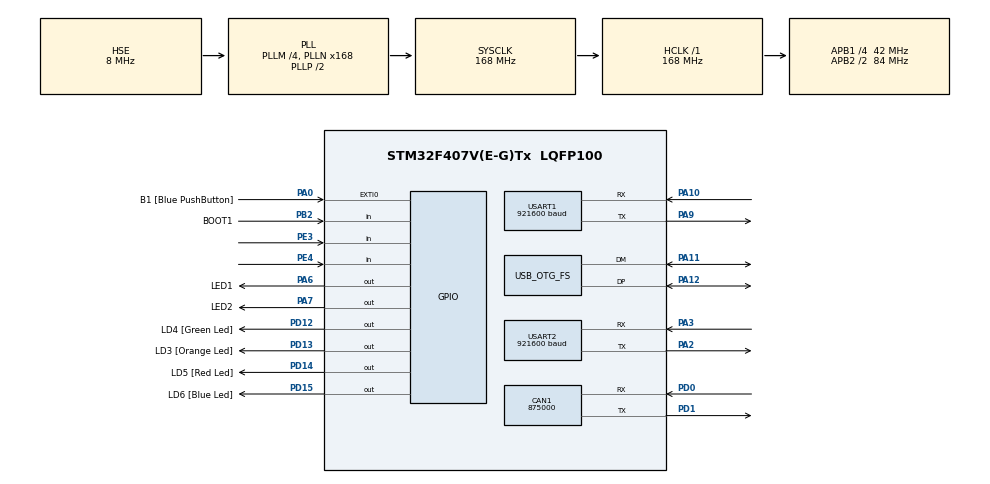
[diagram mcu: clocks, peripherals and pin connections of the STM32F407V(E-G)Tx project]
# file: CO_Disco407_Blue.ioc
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CAN1.CalculateBaudRate=875000
CAN1.CalculateTimeBit=1142
CAN1.CalculateTimeQuantum=380.95238095238096
Dma.MEMTOMEM.4.Direction=DMA_MEMORY_TO_MEMORY
Dma.MEMTOMEM.4.FIFOMode=DMA_FIFOMODE_ENABLE
Dma.MEMTOMEM.4.FIFOThreshold=DMA_FIFO_THRESHOLD_FULL
Dma.MEMTOMEM.4.Instance=DMA2_Stream0
Dma.MEMTOMEM.4.MemBurst=DMA_MBURST_SINGLE
Dma.MEMTOMEM.4.MemDataAlignment=DMA_MDATAALIGN_BYTE
Dma.MEMTOMEM.4.MemInc=DMA_MINC_ENABLE
Dma.MEMTOMEM.4.Mode=DMA_NORMAL
Dma.MEMTOMEM.4.PeriphBurst=DMA_PBURST_SINGLE
Dma.MEMTOMEM.4.PeriphDataAlignment=DMA_PDATAALIGN_BYTE
Dma.MEMTOMEM.4.PeriphInc=DMA_PINC_ENABLE
Dma.MEMTOMEM.4.Priority=DMA_PRIORITY_VERY_HIGH
Dma.MEMTOMEM.5.Direction=DMA_MEMORY_TO_MEMORY
Dma.MEMTOMEM.5.FIFOMode=DMA_FIFOMODE_ENABLE
Dma.MEMTOMEM.5.FIFOThreshold=DMA_FIFO_THRESHOLD_FULL
Dma.MEMTOMEM.5.Instance=DMA2_Stream1
Dma.MEMTOMEM.5.MemBurst=DMA_MBURST_SINGLE
Dma.MEMTOMEM.5.MemDataAlignment=DMA_MDATAALIGN_HALFWORD
Dma.MEMTOMEM.5.MemInc=DMA_MINC_ENABLE
Dma.MEMTOMEM.5.Mode=DMA_NORMAL
Dma.MEMTOMEM.5.PeriphBurst=DMA_PBURST_SINGLE
Dma.MEMTOMEM.5.PeriphDataAlignment=DMA_PDATAALIGN_HALFWORD
Dma.MEMTOMEM.5.PeriphInc=DMA_PINC_ENABLE
Dma.MEMTOMEM.5.Priority=DMA_PRIORITY_HIGH
Dma.MEMTOMEM.6.Direction=DMA_MEMORY_TO_MEMORY
Dma.MEMTOMEM.6.FIFOMode=DMA_FIFOMODE_ENABLE
Dma.MEMTOMEM.6.FIFOThreshold=DMA_FIFO_THRESHOLD_FULL
Dma.MEMTOMEM.6.Instance=DMA2_Stream3
Dma.MEMTOMEM.6.MemBurst=DMA_MBURST_SINGLE
Dma.MEMTOMEM.6.MemDataAlignment=DMA_MDATAALIGN_WORD
Dma.MEMTOMEM.6.MemInc=DMA_MINC_ENABLE
Dma.MEMTOMEM.6.Mode=DMA_NORMAL
Dma.MEMTOMEM.6.PeriphBurst=DMA_PBURST_SINGLE
Dma.MEMTOMEM.6.PeriphDataAlignment=DMA_PDATAALIGN_WORD
Dma.MEMTOMEM.6.PeriphInc=DMA_PINC_ENABLE
Dma.MEMTOMEM.6.Priority=DMA_PRIORITY_MEDIUM
Dma.Request0=USART1_RX
Dma.Request1=USART1_TX
Dma.Request2=USART2_TX
Dma.Request3=USART2_RX
Dma.Request4=MEMTOMEM
Dma.Request5=MEMTOMEM
Dma.Request6=MEMTOMEM
Dma.USART1_RX.0.Direction=DMA_PERIPH_TO_MEMORY
Dma.USART1_RX.0.FIFOMode=DMA_FIFOMODE_DISABLE
Dma.USART1_RX.0.Instance=DMA2_Stream2
Dma.USART1_RX.0.MemDataAlignment=DMA_MDATAALIGN_BYTE
Dma.USART1_RX.0.MemInc=DMA_MINC_ENABLE
Dma.USART1_RX.0.Mode=DMA_NORMAL
Dma.USART1_RX.0.PeriphDataAlignment=DMA_PDATAALIGN_BYTE
Dma.USART1_RX.0.PeriphInc=DMA_PINC_DISABLE
Dma.USART1_RX.0.Priority=DMA_PRIORITY_LOW
Dma.USART1_TX.1.Direction=DMA_MEMORY_TO_PERIPH
Dma.USART1_TX.1.FIFOMode=DMA_FIFOMODE_DISABLE
Dma.USART1_TX.1.Instance=DMA2_Stream7
Dma.USART1_TX.1.MemDataAlignment=DMA_MDATAALIGN_BYTE
Dma.USART1_TX.1.MemInc=DMA_MINC_ENABLE
Dma.USART1_TX.1.Mode=DMA_NORMAL
Dma.USART1_TX.1.PeriphDataAlignment=DMA_PDATAALIGN_BYTE
Dma.USART1_TX.1.PeriphInc=DMA_PINC_DISABLE
Dma.USART1_TX.1.Priority=DMA_PRIORITY_LOW
Dma.USART2_RX.3.Direction=DMA_PERIPH_TO_MEMORY
Dma.USART2_RX.3.FIFOMode=DMA_FIFOMODE_DISABLE
Dma.USART2_RX.3.Instance=DMA1_Stream5
Dma.USART2_RX.3.MemDataAlignment=DMA_MDATAALIGN_BYTE
Dma.USART2_RX.3.MemInc=DMA_MINC_ENABLE
Dma.USART2_RX.3.Mode=DMA_NORMAL
Dma.USART2_RX.3.PeriphDataAlignment=DMA_PDATAALIGN_BYTE
Dma.USART2_RX.3.PeriphInc=DMA_PINC_DISABLE
Dma.USART2_RX.3.Priority=DMA_PRIORITY_LOW
Dma.USART2_TX.2.Direction=DMA_MEMORY_TO_PERIPH
Dma.USART2_TX.2.FIFOMode=DMA_FIFOMODE_DISABLE
Dma.USART2_TX.2.Instance=DMA1_Stream6
Dma.USART2_TX.2.MemDataAlignment=DMA_MDATAALIGN_BYTE
Dma.USART2_TX.2.MemInc=DMA_MINC_ENABLE
Dma.USART2_TX.2.Mode=DMA_NORMAL
Dma.USART2_TX.2.PeriphDataAlignment=DMA_PDATAALIGN_BYTE
Dma.USART2_TX.2.PeriphInc=DMA_PINC_DISABLE
Dma.USART2_TX.2.Priority=DMA_PRIORITY_LOW
Mcu.Family=STM32F4
Mcu.Name=STM32F407V(E-G)Tx
Mcu.Package=LQFP100
NVIC.DMA1_Stream5_IRQn=true\:0\:0\:false\:false\:true\:false\:true\:true
NVIC.DMA1_Stream6_IRQn=true\:0\:0\:false\:false\:true\:false\:true\:true
NVIC.DMA2_Stream2_IRQn=true\:0\:0\:false\:false\:true\:false\:true\:true
NVIC.DMA2_Stream7_IRQn=true\:0\:0\:false\:false\:true\:false\:true\:true
NVIC.OTG_FS_IRQn=true\:0\:0\:false\:false\:true\:false\:true\:true
NVIC.PriorityGroup=NVIC_PRIORITYGROUP_0
NVIC.TIM4_IRQn=true\:0\:0\:false\:false\:true\:true\:true\:true
NVIC.TIM8_TRG_COM_TIM14_IRQn=true\:0\:0\:false\:false\:true\:true\:true\:true
NVIC.USART1_IRQn=true\:0\:0\:false\:false\:true\:true\:true\:true
NVIC.USART2_IRQn=true\:0\:0\:false\:false\:true\:true\:true\:true
PA0-WKUP.GPIO_Label=B1 [Blue PushButton]
PA0-WKUP.GPIO_ModeDefaultEXTI=GPIO_MODE_EVT_RISING
PA0-WKUP.GPIO_PuPd=GPIO_NOPULL
PA0-WKUP.Signal=GPXTI0
PA10.Mode=Asynchronous
PA10.Signal=USART1_RX
PA11.Mode=Device_Only
PA11.Signal=USB_OTG_FS_DM
PA12.Mode=Device_Only
PA12.Signal=USB_OTG_FS_DP
PA13.GPIO_Label=SWDIO
PA13.Mode=Serial_Wire
PA13.Signal=SYS_JTMS-SWDIO
PA14.GPIO_Label=SWCLK
PA14.Mode=Serial_Wire
PA14.Signal=SYS_JTCK-SWCLK
PA2.Mode=Asynchronous
PA2.Signal=USART2_TX
PA3.Mode=Asynchronous
PA3.Signal=USART2_RX
PA6.GPIO_Label=LED1
PA6.PinState=GPIO_PIN_SET
PA6.Signal=GPIO_Output
PA7.GPIO_Label=LED2
PA7.PinState=GPIO_PIN_SET
PA7.Signal=GPIO_Output
PA9.Mode=Asynchronous
PA9.Signal=USART1_TX
PB2.GPIO_Label=BOOT1
PB2.GPIO_Mode=GPIO_MODE_INPUT
PB2.GPIO_PuPd=GPIO_NOPULL
PB2.Signal=GPIO_Input
PB3.GPIO_Label=SWO
PB3.Signal=SYS_JTDO-SWO
PB5.Signal=CAN2_RX
PC14-OSC32_IN.GPIO_Label=PC14-OSC32_IN
PC14-OSC32_IN.Mode=LSE-External-Oscillator
PC14-OSC32_IN.Signal=RCC_OSC32_IN
PC15-OSC32_OUT.GPIO_Label=PC15-OSC32_OUT
PC15-OSC32_OUT.Mode=LSE-External-Oscillator
PC15-OSC32_OUT.Signal=RCC_OSC32_OUT
PD0.Mode=CAN_Activate
PD0.Signal=CAN1_RX
PD1.Mode=CAN_Activate
PD1.Signal=CAN1_TX
PD12.GPIO_Label=LD4 [Green Led]
PD12.GPIO_PuPd=GPIO_NOPULL
PD12.GPIO_Speed=GPIO_SPEED_FREQ_LOW
PD12.Signal=GPIO_Output
PD13.GPIO_Label=LD3 [Orange Led]
PD13.GPIO_PuPd=GPIO_NOPULL
PD13.GPIO_Speed=GPIO_SPEED_FREQ_LOW
PD13.Signal=GPIO_Output
PD14.GPIO_Label=LD5 [Red Led]
PD14.GPIO_PuPd=GPIO_NOPULL
PD14.GPIO_Speed=GPIO_SPEED_FREQ_LOW
PD14.Signal=GPIO_Output
PD15.GPIO_Label=LD6 [Blue Led]
PD15.GPIO_PuPd=GPIO_NOPULL
PD15.GPIO_Speed=GPIO_SPEED_FREQ_LOW
PD15.Signal=GPIO_Output
PE3.GPIO_PuPd=GPIO_PULLUP
PE3.Signal=GPIO_Input
PE4.GPIO_PuPd=GPIO_PULLUP
PE4.Signal=GPIO_Input
PH0-OSC_IN.GPIO_Label=PH0-OSC_IN
PH0-OSC_IN.Mode=HSE-External-Oscillator
PH0-OSC_IN.Signal=RCC_OSC_IN
PH1-OSC_OUT.GPIO_Label=PH1-OSC_OUT
PH1-OSC_OUT.Mode=HSE-External-Oscillator
PH1-OSC_OUT.Signal=RCC_OSC_OUT
ProjectManager.HeapSize=0x800
ProjectManager.StackSize=0x800
ProjectManager.TargetToolchain=STM32CubeIDE
RCC.48MHZClocksFreq_Value=48000000
RCC.AHBFreq_Value=168000000
RCC.APB1CLKDivider=RCC_HCLK_DIV4
RCC.APB1Freq_Value=42000000
RCC.APB1TimFreq_Value=84000000
RCC.APB2CLKDivider=RCC_HCLK_DIV2
RCC.APB2Freq_Value=84000000
RCC.APB2TimFreq_Value=168000000
RCC.CortexFreq_Value=168000000
RCC.HCLKFreq_Value=168000000
RCC.HSE_VALUE=8000000
RCC.HSI_VALUE=16000000
RCC.PLLI2SN=50
RCC.PLLM=4
RCC.PLLN=168
RCC.PLLQ=7
RCC.SYSCLKFreq_VALUE=168000000
RCC.SYSCLKSource=RCC_SYSCLKSOURCE_PLLCLK
RCC.VCOOutputFreq_Value=336000000
TIM14.Period=999
TIM14.Prescaler=167
TIM4.Period=999
TIM4.Prescaler=167
TIM4.TIM_MasterOutputTrigger=TIM_TRGO_UPDATE
USART1.BaudRate=921600
USART1.StopBits=STOPBITS_2
USART1.VirtualMode=VM_ASYNC
USART2.BaudRate=921600
USART2.StopBits=STOPBITS_2
USART2.VirtualMode=VM_ASYNC
USB_DEVICE.APP_RX_DATA_SIZE-CDC_FS=2048
USB_DEVICE.CLASS_NAME_FS=CDC
USB_DEVICE.VirtualMode-CDC_FS=Cdc
USB_DEVICE.VirtualModeFS=Cdc_FS
USB_OTG_FS.VirtualMode=Device_Only
VP_TIM14_VS_ClockSourceINT.Mode=Enable_Timer
VP_TIM4_VS_ClockSourceINT.Mode=Internal
VP_USB_DEVICE_VS_USB_DEVICE_CDC_FS.Mode=CDC_FS
board=STM32F407G-DISC1

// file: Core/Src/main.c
/* USER CODE BEGIN Header */
/**
  ******************************************************************************
  * @file           : main.c
  * @brief          : Main program body
  ******************************************************************************
  * @attention
  *
  * Copyright (c) 2024 STMicroelectronics.
  * All rights reserved.
  *
  * This software is licensed under terms that can be found in the LICENSE file
  * in the root directory of this software component.
  * If no LICENSE file comes with this software, it is provided AS-IS.
  *
  *
  *
  *			Blue_color_Discovery__STM32F407
  *
  *				NodeID = 0x3b
  *
  ******************************************************************************
  */
/* USER CODE END Header */
#include "main.h"
#include "usb_device.h"

/* USER CODE BEGIN Includes */
#include "CO_app_STM32.h"
#include "301/CO_SDOclient.h"
#include "CANopen.h"
#include "OD.h"

#include "format_out.h"
#include <malloc.h>
/* USER CODE END Includes */

/* USER CODE BEGIN PD */
#define CO_Aliex_Disco407green	0x3A
#define CO_Disco407_Blue		0x3b
#define CO_Lower__f407xx		0x3c
#define CO_Upper_F407XX			0x3d
#define CO_Disco407_Green_1		0x3e

#define Make_Read_SDO			1
#define TerminalInterface		huart2
/* USER CODE END PD */

CAN_HandleTypeDef hcan1;

TIM_HandleTypeDef htim4;
TIM_HandleTypeDef htim14;

UART_HandleTypeDef huart1;
UART_HandleTypeDef huart2;
DMA_HandleTypeDef hdma_usart1_rx;
DMA_HandleTypeDef hdma_usart1_tx;
DMA_HandleTypeDef hdma_usart2_tx;
DMA_HandleTypeDef hdma_usart2_rx;

DMA_HandleTypeDef hdma_memtomem_dma2_stream0;
DMA_HandleTypeDef hdma_memtomem_dma2_stream1;
DMA_HandleTypeDef hdma_memtomem_dma2_stream3;
/* USER CODE BEGIN PV */
uint8_t Tx_Array[16]={0x51,0x62,0x73,0x84,0x55,0x46,0x87,0x18,0x29,0x10,0x11,0x12,0x13,0x14,0x15,0x33};
uint8_t Rx_Array[16]={0};
uint32_t Array_32u[16]={0};
uint8_t Array_8u[16]={0x54,0x34,0x21,0xea,0xf3,0x7a,0xd4,0x46};
char Message_to_Terminal[128]={};
char Message_to_Terminal_1[128]={};
char Message_to_Terminal_2[128]={};
char Message_to_Terminal_3[128]={};
uint8_t Length_of_Message;
uint8_t Length_of_Ext_Var=0;
uint8_t Local_Count=0;

CO_SDO_abortCode_t  Code_return_SDO;
CAN_TxHeaderTypeDef Tx_Header;
uint32_t            TxMailbox;
uint32_t            tmp32u_1   = 0x1e1f1a1b;
uint32_t            tmp32u_0   = 0x0e0f0a0b;
uint64_t            tmp64u_0   = 0x0e1f1a1b56789a;
uint64_t            tmp64u_1   = 0x0e1f1a1b56789a;
uint32_t            Ticks;
char String_H[]={"String_for_Test_UART_"};
char String_L[]={"String_for_Test_UART_"};
/* USER CODE END PV */

void SystemClock_Config(void);
static void MX_GPIO_Init(void);
static void MX_DMA_Init(void);
static void MX_TIM14_Init(void);
static void MX_USART1_UART_Init(void);
static void MX_USART2_UART_Init(void);
static void MX_TIM4_Init(void);
static void MX_CAN1_Init(void);
/* USER CODE BEGIN PFP */

void CAN_interface_Test(void);
void UART_interface_Test(void);
void GPIO_Blink_Test(GPIO_TypeDef* GPIOx, uint16_t GPIO_Pin, uint8_t Count_of_Blink, uint16_t Period_of_blink_ms);
void Board_Name_to_Terminal(void);
void CO_Init_Return_State(uint16_t Returned_Code);
void SDO_abortCode_ASCII_to_Terminal(void);

CO_SDO_abortCode_t	read_SDO	(
								  CO_SDOclient_t* SDO_C,
								  uint8_t nodeId, 	//Remote_NodeID
								  uint16_t index,	//OD_Index_of_entire_at_Remote_NodeID
								  uint8_t subIndex, // OD_SubIndex_of_entire_at_Remote_NodeID
								  uint8_t* buf, 	//Saved_Data_Array
								  size_t bufSize, 	//Number_of_Bytes_Read_from_Remote_NodeID
								  size_t* readSize 	//pointer_at_Number_of_Bytes_to_save
								  );

CO_SDO_abortCode_t	write_SDO 	(
								CO_SDOclient_t* SDO_C,
								uint8_t nodeId, 	//Remote_NodeID
								uint16_t index,	//OD_Index_of_entire_at_Remote_NodeID
								uint8_t subIndex, // OD_SubIndex_of_entire_at_Remote_NodeID
								uint8_t* data,	//Data_Array_to_write_into_entire_at_Remote_NodeID
								size_t dataSize	//Number_of_Bytes_write_into_entire_at_Remote_NodeID
								);
/* USER CODE END PFP */

/* USER CODE BEGIN 0 */

/* Timer interrupt function executes every 1 ms */
void
HAL_TIM_PeriodElapsedCallback(TIM_HandleTypeDef* htim) {
    if (htim == canopenNodeSTM32->timerHandle) {
        canopen_app_interrupt();
    }
}

/* USER CODE END 0 */

int main(void)
{

  /* MCU Configuration--------------------------------------------------------*/

  /* Reset of all peripherals, Initializes the Flash interface and the Systick. */
  HAL_Init();

  /* Configure the system clock */
  SystemClock_Config();

  /* Initialize all configured peripherals */
  MX_GPIO_Init();
  MX_DMA_Init();
  MX_TIM14_Init();
  MX_USART1_UART_Init();
  MX_USB_DEVICE_Init();
  MX_USART2_UART_Init();
  MX_TIM4_Init();
  MX_CAN1_Init();
  /* USER CODE BEGIN 2 */
  /* CANHandle : Pass in the CAN Handle to this function and it wil be used for all CAN Communications. It can be FDCan or CAN
   * and CANOpenSTM32 Driver will take of care of handling that
   * HWInitFunction : Pass in the function that initialize the CAN peripheral, usually MX_CAN_Init
   * timerHandle : Pass in the timer that is going to be used for generating 1ms interrupt for tmrThread function,
   * please note that CANOpenSTM32 Library will override HAL_TIM_PeriodElapsedCallback function, if you also need this function
   * in your codes, please take required steps
   * desiredNodeID : This is the Node ID that you ask the CANOpen stack to assign to your device, although it might not always
   * be the final NodeID, after calling canopen_app_init() you should check ActiveNodeID of CANopenNodeSTM32 structure for assigned Node ID.
   * baudrate: This is the baudrate you've set in your CubeMX Configuration
   *
   */

  //   GPIO_Blink_Test(GPIOA, GPIO_PIN_7|GPIO_PIN_6, 25, 33); //for_STM32F4XX_Ali_pcb
    GPIO_Blink_Test(GPIOD, GPIO_PIN_12|GPIO_PIN_13|GPIO_PIN_14|GPIO_PIN_15, 25, 33);// blink_at_Discovery_EVB
//    UART_interface_Test(); //while(1){;}
//  //  CAN_interface_Test();
    Board_Name_to_Terminal();

	HAL_TIM_Base_Start_IT(&htim4);

	CANopenNodeSTM32 canOpenNodeSTM32;
	canOpenNodeSTM32.CANHandle = &hcan1;
	canOpenNodeSTM32.HWInitFunction = MX_CAN1_Init;
	canOpenNodeSTM32.timerHandle = &htim4;
	canOpenNodeSTM32.desiredNodeID = CO_Disco407_Blue;//0x3b;
	canOpenNodeSTM32.baudrate = 125*4;
uint16_t Ret_value = canopen_app_init(&canOpenNodeSTM32);
	CO_Init_Return_State(Ret_value );

  /* USER CODE END 2 */

  /* Infinite loop */
  /* USER CODE BEGIN WHILE */

	Code_return_SDO = read_SDO (
			    canOpenNodeSTM32.canOpenStack->SDOclient,
			  	0x3d,										//remote desiredNodeID Upper_F407XX
				0x6004,										//Index_of_OD_variable_at_remote_NodeID_6004_u64
				0x00,										//Sub_Index_of_OD_variable
				Rx_Array,									//Save_Received_Data_to Local_Array
				8,											//Number_of_Bytes_to_read
				(size_t*)&Length_of_Ext_Var ); HAL_Delay(100);

#if 1

		while(TerminalInterface.gState != HAL_UART_STATE_READY){;}
		Length_of_Message = sprintf( Message_to_Terminal,
		  	  	                     "\r EXECUTED read_SDO(...); for the first time\n\r "
                  "by canOpenNodeSTM32.canOpenStack->SDOclient\n\r");

		HAL_UART_Transmit_DMA( &TerminalInterface, (uint8_t*)Message_to_Terminal, Length_of_Message);HAL_Delay(10);

		while(TerminalInterface.gState != HAL_UART_STATE_READY){;}
		Length_of_Message = sprintf( Message_to_Terminal_3,
                "from RemoteNode=0x3d OD_Index=0x6004_u64 SubIndex=0x0\n\r and Save to \n\r"
				"Rx_Array={0x%X,0x%X,0x%X,0x%X,0x%X,0x%X,0x%X,0x%X} \n\r",
				Rx_Array[0],Rx_Array[1],Rx_Array[2],Rx_Array[3],
				Rx_Array[4],Rx_Array[5],Rx_Array[6],Rx_Array[7]);
		HAL_UART_Transmit_DMA( &TerminalInterface, (uint8_t*)Message_to_Terminal_3, Length_of_Message);
		while(TerminalInterface.gState != HAL_UART_STATE_READY){;}
		SDO_abortCode_ASCII_to_Terminal();		HAL_Delay(10);
#endif

#if 2
		while(TerminalInterface.gState != HAL_UART_STATE_READY){;}
		Length_of_Message = sprintf( Message_to_Terminal_2, "   \n\r Run write_SDO(.....);\n\r"
														  " write_SDO  by "
                  	  	  	  	  	  	  	  	  	  	  "canOpenNodeSTM32.canOpenStack->SDOclient\n\r");
		Message_to_Terminal_2[0]=0x08;
		Message_to_Terminal_2[1]=0x08;
		Message_to_Terminal_2[2]=0x08;
		HAL_UART_Transmit_DMA( &TerminalInterface, (uint8_t*)Message_to_Terminal_2, Length_of_Message);HAL_Delay(10);

		while(TerminalInterface.gState != HAL_UART_STATE_READY){;}
		Length_of_Message = sprintf( Message_to_Terminal_1,
                "Get Data \n\r from Local\n\r Array_8u={0x%X,0x%X,0x%X,0x%X,0x%X,0x%X,0x%X,0x%X} \n\r",
				Array_8u[0],Array_8u[1],Array_8u[2],Array_8u[3],
				Array_8u[4],Array_8u[5],Array_8u[6],Array_8u[7]);
		HAL_UART_Transmit_DMA( &TerminalInterface, (uint8_t*)Message_to_Terminal_1, Length_of_Message);
		while(TerminalInterface.gState != HAL_UART_STATE_READY){;}
		HAL_Delay(10);

		while(TerminalInterface.gState != HAL_UART_STATE_READY){;}
		Length_of_Message = sprintf( Message_to_Terminal_2,
                "and \n\r write to\n\r"
                "OD_Index=0x6004 SubIndex=0x0E  @ Remote Node_0x3d\n\r");
		HAL_UART_Transmit_DMA( &TerminalInterface, (uint8_t*)Message_to_Terminal_2, Length_of_Message);
		while(TerminalInterface.gState != HAL_UART_STATE_READY){;}
		HAL_Delay(10);

#endif//2

Code_return_SDO = write_SDO(
				canOpenNodeSTM32.canOpenStack->SDOclient,
				0x3d,										//remote desiredNodeID Upper_F407XX
				0x6004,										//Index_of_OD_variable_at_remote_NodeID_6004_u64
				0x00,										//Sub_Index_of_OD_variable
				Array_8u,									//Source_of_data
				4);
HAL_Delay(50);

while(TerminalInterface.gState != HAL_UART_STATE_READY){;}
SDO_abortCode_ASCII_to_Terminal();

Code_return_SDO = read_SDO (
  			    canOpenNodeSTM32.canOpenStack->SDOclient,
				0x3d,										//remote desiredNodeID Upper_F407XX
				0x6004,										//Index_of_OD_variable_at_remote_NodeID_6004_u64
  				0x00,										//Sub_Index_of_OD_variable
  				Rx_Array,									//Saved_Received_Data
  				4,											//Number_of_Byte_to_read
  				(size_t*)&Length_of_Ext_Var );HAL_Delay(50);

#if 3

		while(TerminalInterface.gState != HAL_UART_STATE_READY){;}
		Length_of_Message = sprintf( Message_to_Terminal_2,
		  	  	                     "   \n\r EXECUTED read_SDO(...); for the SECOND time\n\r");
		Message_to_Terminal_2[0]=0x08;
		Message_to_Terminal_2[1]=0x08;
		Message_to_Terminal_2[2]=0x08;
		HAL_UART_Transmit_DMA( &TerminalInterface, (uint8_t*)Message_to_Terminal_2, Length_of_Message);

		while(TerminalInterface.gState != HAL_UART_STATE_READY){;}
		Length_of_Message = sprintf( Message_to_Terminal_1,
                " Read NEW DATA from Node_0x3d OD_Index=0x6004 SubIndex=0x0E\n\r"
                "and\n\r Save to\n\r");
		HAL_UART_Transmit_DMA( &TerminalInterface, (uint8_t*)Message_to_Terminal_1, Length_of_Message);

		while(TerminalInterface.gState != HAL_UART_STATE_READY){;}
		Length_of_Message = sprintf( Message_to_Terminal,
                "Rx_Array={0x%X,0x%X,0x%X,0x%X,0x%X,0x%X,0x%X,0x%X} \n\r",
				Array_8u[0],Array_8u[1],Array_8u[2],Array_8u[3],
				Array_8u[4],Array_8u[5],Array_8u[6],Array_8u[7]);
		HAL_UART_Transmit_DMA( &TerminalInterface, (uint8_t*)Message_to_Terminal, Length_of_Message); HAL_Delay(10);

SDO_abortCode_ASCII_to_Terminal();
#endif//3
	  HAL_Delay(50);

		  OD_PERSIST_COMM.x6000_disco_Blue_VAR32_6000_TX=0;
		  Local_Count=0;

		  while (1)

		  // HAL_GPIO_WritePin(GPIOA, GPIO_PIN_6, !canOpenNodeSTM32.outStatusLEDGreen);
		  HAL_GPIO_WritePin(GPIOD, GPIO_PIN_12, !canOpenNodeSTM32.outStatusLEDGreen);
		  // HAL_GPIO_WritePin(GPIOA, GPIO_PIN_7, !canOpenNodeSTM32.outStatusLEDRed  );//yellow
		  HAL_GPIO_WritePin(GPIOD, GPIO_PIN_14, !canOpenNodeSTM32.outStatusLEDRed  );

		  canopen_app_process();

			if(tmp32u_0 != OD_PERSIST_COMM.x6001_disco_Blue_VAR32_6001_R)
			{
			tmp32u_0 = OD_PERSIST_COMM.x6001_disco_Blue_VAR32_6001_R;

#if 4
		Length_of_Message = sprintf( Message_to_Terminal,
		  	  	                     "copy  OD_PERSIST_COMM.x6001_disco_Blue_VAR32_6001_R "
                  	  	  	  	  	  " to tmp32u_0 = 0x%X%X\n\r",(uint16_t)(tmp32u_0>>16),(uint16_t)tmp32u_0);

		while(TerminalInterface.gState != HAL_UART_STATE_READY){;}
		HAL_UART_Transmit_DMA( &TerminalInterface, (uint8_t*)Message_to_Terminal, Length_of_Message);

#endif	//4

			if(tmp32u_1 != OD_PERSIST_COMM.x6002_disco_Blue_VAR32_6002_R)
			{
				Length_of_Message = sprintf( Message_to_Terminal,
		                "check for updates tmp32u_1 = OD_PERSIST_COMM.x6002_disco_Blue_VAR32_6002_R"
		                "tmp32u_1 = 0x%X%X\n\r",(uint16_t)(tmp32u_1>>16),(uint16_t)tmp32u_1);
				while(TerminalInterface.gState != HAL_UART_STATE_READY){;}
				HAL_UART_Transmit_DMA( &TerminalInterface, (uint8_t*)Message_to_Terminal, Length_of_Message);

			}

//			  		  if(HAL_GetTick() - Ticks>1649)
//			  		  {
//			  			Ticks = HAL_GetTick();
//			  			CO_TPDOsendRequest(&canOpenNodeSTM32.canOpenStack->TPDO[0] );
//			  		  }

    /* USER CODE END WHILE */

  }
}

void SystemClock_Config(void)
{
  RCC_OscInitTypeDef RCC_OscInitStruct = {0};
  RCC_ClkInitTypeDef RCC_ClkInitStruct = {0};

  /** Configure the main internal regulator output voltage
  */
  __HAL_RCC_PWR_CLK_ENABLE();
  __HAL_PWR_VOLTAGESCALING_CONFIG(PWR_REGULATOR_VOLTAGE_SCALE1);

  /** Initializes the RCC Oscillators according to the specified parameters
  * in the RCC_OscInitTypeDef structure.
  */
  RCC_OscInitStruct.OscillatorType = RCC_OSCILLATORTYPE_HSE;
  RCC_OscInitStruct.HSEState = RCC_HSE_ON;
  RCC_OscInitStruct.PLL.PLLState = RCC_PLL_ON;
  RCC_OscInitStruct.PLL.PLLSource = RCC_PLLSOURCE_HSE;
  RCC_OscInitStruct.PLL.PLLM = 4;
  RCC_OscInitStruct.PLL.PLLN = 168;
  RCC_OscInitStruct.PLL.PLLP = RCC_PLLP_DIV2;
  RCC_OscInitStruct.PLL.PLLQ = 7;
  if (HAL_RCC_OscConfig(&RCC_OscInitStruct) != HAL_OK)
  {
    Error_Handler();
  }

  /** Initializes the CPU, AHB and APB buses clocks
  */
  RCC_ClkInitStruct.ClockType = RCC_CLOCKTYPE_HCLK|RCC_CLOCKTYPE_SYSCLK
                              |RCC_CLOCKTYPE_PCLK1|RCC_CLOCKTYPE_PCLK2;
  RCC_ClkInitStruct.SYSCLKSource = RCC_SYSCLKSOURCE_PLLCLK;
  RCC_ClkInitStruct.AHBCLKDivider = RCC_SYSCLK_DIV1;
  RCC_ClkInitStruct.APB1CLKDivider = RCC_HCLK_DIV4;
  RCC_ClkInitStruct.APB2CLKDivider = RCC_HCLK_DIV2;

  if (HAL_RCC_ClockConfig(&RCC_ClkInitStruct, FLASH_LATENCY_5) != HAL_OK)
  {
    Error_Handler();
  }
}

static void MX_CAN1_Init(void)
{

  hcan1.Instance = CAN1;
  hcan1.Init.Prescaler = 16;
  hcan1.Init.Mode = CAN_MODE_NORMAL;
  hcan1.Init.SyncJumpWidth = CAN_SJW_1TQ;
  hcan1.Init.TimeSeg1 = CAN_BS1_1TQ;
  hcan1.Init.TimeSeg2 = CAN_BS2_1TQ;
  hcan1.Init.TimeTriggeredMode = DISABLE;
  hcan1.Init.AutoBusOff = DISABLE;
  hcan1.Init.AutoWakeUp = DISABLE;
  hcan1.Init.AutoRetransmission = DISABLE;
  hcan1.Init.ReceiveFifoLocked = DISABLE;
  hcan1.Init.TransmitFifoPriority = DISABLE;
  if (HAL_CAN_Init(&hcan1) != HAL_OK)
  {
    Error_Handler();
  }

}

static void MX_TIM4_Init(void)
{

  TIM_ClockConfigTypeDef sClockSourceConfig = {0};
  TIM_MasterConfigTypeDef sMasterConfig = {0};

  htim4.Instance = TIM4;
  htim4.Init.Prescaler = 167;
  htim4.Init.CounterMode = TIM_COUNTERMODE_UP;
  htim4.Init.Period = 999;
  htim4.Init.ClockDivision = TIM_CLOCKDIVISION_DIV1;
  htim4.Init.AutoReloadPreload = TIM_AUTORELOAD_PRELOAD_DISABLE;
  if (HAL_TIM_Base_Init(&htim4) != HAL_OK)
  {
    Error_Handler();
  }
  sClockSourceConfig.ClockSource = TIM_CLOCKSOURCE_INTERNAL;
  if (HAL_TIM_ConfigClockSource(&htim4, &sClockSourceConfig) != HAL_OK)
  {
    Error_Handler();
  }
  sMasterConfig.MasterOutputTrigger = TIM_TRGO_UPDATE;
  sMasterConfig.MasterSlaveMode = TIM_MASTERSLAVEMODE_DISABLE;
  if (HAL_TIMEx_MasterConfigSynchronization(&htim4, &sMasterConfig) != HAL_OK)
  {
    Error_Handler();
  }

}

static void MX_TIM14_Init(void)
{

  htim14.Instance = TIM14;
  htim14.Init.Prescaler = 167;
  htim14.Init.CounterMode = TIM_COUNTERMODE_UP;
  htim14.Init.Period = 999;
  htim14.Init.ClockDivision = TIM_CLOCKDIVISION_DIV1;
  htim14.Init.AutoReloadPreload = TIM_AUTORELOAD_PRELOAD_DISABLE;
  if (HAL_TIM_Base_Init(&htim14) != HAL_OK)
  {
    Error_Handler();
  }

}

static void MX_USART1_UART_Init(void)
{

  huart1.Instance = USART1;
  huart1.Init.BaudRate = 921600;
  huart1.Init.WordLength = UART_WORDLENGTH_8B;
  huart1.Init.StopBits = UART_STOPBITS_2;
  huart1.Init.Parity = UART_PARITY_NONE;
  huart1.Init.Mode = UART_MODE_TX_RX;
  huart1.Init.HwFlowCtl = UART_HWCONTROL_NONE;
  huart1.Init.OverSampling = UART_OVERSAMPLING_16;
  if (HAL_UART_Init(&huart1) != HAL_OK)
  {
    Error_Handler();
  }

}

static void MX_USART2_UART_Init(void)
{

  huart2.Instance = USART2;
  huart2.Init.BaudRate = 921600;
  huart2.Init.WordLength = UART_WORDLENGTH_8B;
  huart2.Init.StopBits = UART_STOPBITS_2;
  huart2.Init.Parity = UART_PARITY_NONE;
  huart2.Init.Mode = UART_MODE_TX_RX;
  huart2.Init.HwFlowCtl = UART_HWCONTROL_NONE;
  huart2.Init.OverSampling = UART_OVERSAMPLING_16;
  if (HAL_UART_Init(&huart2) != HAL_OK)
  {
    Error_Handler();
  }

}

static void MX_DMA_Init(void)
{

  /* DMA controller clock enable */
  __HAL_RCC_DMA2_CLK_ENABLE();
  __HAL_RCC_DMA1_CLK_ENABLE();

  /* Configure DMA request hdma_memtomem_dma2_stream0 on DMA2_Stream0 */
  hdma_memtomem_dma2_stream0.Instance = DMA2_Stream0;
  hdma_memtomem_dma2_stream0.Init.Channel = DMA_CHANNEL_0;
  hdma_memtomem_dma2_stream0.Init.Direction = DMA_MEMORY_TO_MEMORY;
  hdma_memtomem_dma2_stream0.Init.PeriphInc = DMA_PINC_ENABLE;
  hdma_memtomem_dma2_stream0.Init.MemInc = DMA_MINC_ENABLE;
  hdma_memtomem_dma2_stream0.Init.PeriphDataAlignment = DMA_PDATAALIGN_BYTE;
  hdma_memtomem_dma2_stream0.Init.MemDataAlignment = DMA_MDATAALIGN_BYTE;
  hdma_memtomem_dma2_stream0.Init.Mode = DMA_NORMAL;
  hdma_memtomem_dma2_stream0.Init.Priority = DMA_PRIORITY_VERY_HIGH;
  hdma_memtomem_dma2_stream0.Init.FIFOMode = DMA_FIFOMODE_ENABLE;
  hdma_memtomem_dma2_stream0.Init.FIFOThreshold = DMA_FIFO_THRESHOLD_FULL;
  hdma_memtomem_dma2_stream0.Init.MemBurst = DMA_MBURST_SINGLE;
  hdma_memtomem_dma2_stream0.Init.PeriphBurst = DMA_PBURST_SINGLE;
  if (HAL_DMA_Init(&hdma_memtomem_dma2_stream0) != HAL_OK)
  {
    Error_Handler( );
  }

  /* Configure DMA request hdma_memtomem_dma2_stream1 on DMA2_Stream1 */
  hdma_memtomem_dma2_stream1.Instance = DMA2_Stream1;
  hdma_memtomem_dma2_stream1.Init.Channel = DMA_CHANNEL_0;
  hdma_memtomem_dma2_stream1.Init.Direction = DMA_MEMORY_TO_MEMORY;
  hdma_memtomem_dma2_stream1.Init.PeriphInc = DMA_PINC_ENABLE;
  hdma_memtomem_dma2_stream1.Init.MemInc = DMA_MINC_ENABLE;
  hdma_memtomem_dma2_stream1.Init.PeriphDataAlignment = DMA_PDATAALIGN_HALFWORD;
  hdma_memtomem_dma2_stream1.Init.MemDataAlignment = DMA_MDATAALIGN_HALFWORD;
  hdma_memtomem_dma2_stream1.Init.Mode = DMA_NORMAL;
  hdma_memtomem_dma2_stream1.Init.Priority = DMA_PRIORITY_HIGH;
  hdma_memtomem_dma2_stream1.Init.FIFOMode = DMA_FIFOMODE_ENABLE;
  hdma_memtomem_dma2_stream1.Init.FIFOThreshold = DMA_FIFO_THRESHOLD_FULL;
  hdma_memtomem_dma2_stream1.Init.MemBurst = DMA_MBURST_SINGLE;
  hdma_memtomem_dma2_stream1.Init.PeriphBurst = DMA_PBURST_SINGLE;
  if (HAL_DMA_Init(&hdma_memtomem_dma2_stream1) != HAL_OK)
  {
    Error_Handler( );
  }

  /* Configure DMA request hdma_memtomem_dma2_stream3 on DMA2_Stream3 */
  hdma_memtomem_dma2_stream3.Instance = DMA2_Stream3;
  hdma_memtomem_dma2_stream3.Init.Channel = DMA_CHANNEL_0;
  hdma_memtomem_dma2_stream3.Init.Direction = DMA_MEMORY_TO_MEMORY;
  hdma_memtomem_dma2_stream3.Init.PeriphInc = DMA_PINC_ENABLE;
  hdma_memtomem_dma2_stream3.Init.MemInc = DMA_MINC_ENABLE;
  hdma_memtomem_dma2_stream3.Init.PeriphDataAlignment = DMA_PDATAALIGN_WORD;
  hdma_memtomem_dma2_stream3.Init.MemDataAlignment = DMA_MDATAALIGN_WORD;
  hdma_memtomem_dma2_stream3.Init.Mode = DMA_NORMAL;
  hdma_memtomem_dma2_stream3.Init.Priority = DMA_PRIORITY_MEDIUM;
  hdma_memtomem_dma2_stream3.Init.FIFOMode = DMA_FIFOMODE_ENABLE;
  hdma_memtomem_dma2_stream3.Init.FIFOThreshold = DMA_FIFO_THRESHOLD_FULL;
  hdma_memtomem_dma2_stream3.Init.MemBurst = DMA_MBURST_SINGLE;
  hdma_memtomem_dma2_stream3.Init.PeriphBurst = DMA_PBURST_SINGLE;
  if (HAL_DMA_Init(&hdma_memtomem_dma2_stream3) != HAL_OK)
  {
    Error_Handler( );
  }

  /* DMA interrupt init */
  /* DMA1_Stream5_IRQn interrupt configuration */
  HAL_NVIC_SetPriority(DMA1_Stream5_IRQn, 0, 0);
  HAL_NVIC_EnableIRQ(DMA1_Stream5_IRQn);
  /* DMA1_Stream6_IRQn interrupt configuration */
  HAL_NVIC_SetPriority(DMA1_Stream6_IRQn, 0, 0);
  HAL_NVIC_EnableIRQ(DMA1_Stream6_IRQn);
  /* DMA2_Stream2_IRQn interrupt configuration */
  HAL_NVIC_SetPriority(DMA2_Stream2_IRQn, 0, 0);
  HAL_NVIC_EnableIRQ(DMA2_Stream2_IRQn);
  /* DMA2_Stream7_IRQn interrupt configuration */
  HAL_NVIC_SetPriority(DMA2_Stream7_IRQn, 0, 0);
  HAL_NVIC_EnableIRQ(DMA2_Stream7_IRQn);

}

static void MX_GPIO_Init(void)
{
  GPIO_InitTypeDef GPIO_InitStruct = {0};

  /* GPIO Ports Clock Enable */
  __HAL_RCC_GPIOE_CLK_ENABLE();
  __HAL_RCC_GPIOC_CLK_ENABLE();
  __HAL_RCC_GPIOH_CLK_ENABLE();
  __HAL_RCC_GPIOA_CLK_ENABLE();
  __HAL_RCC_GPIOB_CLK_ENABLE();
  __HAL_RCC_GPIOD_CLK_ENABLE();

  /*Configure GPIO pin Output Level */
  HAL_GPIO_WritePin(GPIOA, LED1_Pin|LED2_Pin, GPIO_PIN_SET);

  /*Configure GPIO pin Output Level */
  HAL_GPIO_WritePin(GPIOD, LD4_Pin|LD3_Pin|LD5_Pin|LD6_Pin, GPIO_PIN_RESET);

  /*Configure GPIO pins : PE3 PE4 */
  GPIO_InitStruct.Pin = GPIO_PIN_3|GPIO_PIN_4;
  GPIO_InitStruct.Mode = GPIO_MODE_INPUT;
  GPIO_InitStruct.Pull = GPIO_PULLUP;
  HAL_GPIO_Init(GPIOE, &GPIO_InitStruct);

  /*Configure GPIO pin : B1_Pin */
  GPIO_InitStruct.Pin = B1_Pin;
  GPIO_InitStruct.Mode = GPIO_MODE_EVT_RISING;
  GPIO_InitStruct.Pull = GPIO_NOPULL;
  HAL_GPIO_Init(B1_GPIO_Port, &GPIO_InitStruct);

  /*Configure GPIO pins : LED1_Pin LED2_Pin */
  GPIO_InitStruct.Pin = LED1_Pin|LED2_Pin;
  GPIO_InitStruct.Mode = GPIO_MODE_OUTPUT_PP;
  GPIO_InitStruct.Pull = GPIO_NOPULL;
  GPIO_InitStruct.Speed = GPIO_SPEED_FREQ_LOW;
  HAL_GPIO_Init(GPIOA, &GPIO_InitStruct);

  /*Configure GPIO pin : BOOT1_Pin */
  GPIO_InitStruct.Pin = BOOT1_Pin;
  GPIO_InitStruct.Mode = GPIO_MODE_INPUT;
  GPIO_InitStruct.Pull = GPIO_NOPULL;
  HAL_GPIO_Init(BOOT1_GPIO_Port, &GPIO_InitStruct);

  /*Configure GPIO pins : LD4_Pin LD3_Pin LD5_Pin LD6_Pin */
  GPIO_InitStruct.Pin = LD4_Pin|LD3_Pin|LD5_Pin|LD6_Pin;
  GPIO_InitStruct.Mode = GPIO_MODE_OUTPUT_PP;
  GPIO_InitStruct.Pull = GPIO_NOPULL;
  GPIO_InitStruct.Speed = GPIO_SPEED_FREQ_LOW;
  HAL_GPIO_Init(GPIOD, &GPIO_InitStruct);

  /*Configure GPIO pin : PB5 */
  GPIO_InitStruct.Pin = GPIO_PIN_5;
  GPIO_InitStruct.Mode = GPIO_MODE_AF_PP;
  GPIO_InitStruct.Pull = GPIO_NOPULL;
  GPIO_InitStruct.Speed = GPIO_SPEED_FREQ_VERY_HIGH;
  GPIO_InitStruct.Alternate = GPIO_AF9_CAN2;
  HAL_GPIO_Init(GPIOB, &GPIO_InitStruct);

}

/* USER CODE BEGIN 4 */

CO_SDO_abortCode_t	read_SDO	(
								  CO_SDOclient_t* SDO_C,
								  uint8_t nodeId, 	//Remote_NodeID
								  uint16_t index,	//OD_Index_of_entire_at_Remote_NodeID
								  uint8_t subIndex, // OD_SubIndex_of_entire_at_Remote_NodeID
								  uint8_t* buf, 	//Saved_Data_Array
								  size_t bufSize, 	//Number_of_Bytes_Read_from_Remote_NodeID
								  size_t* readSize 	//pointer_at_Number_of_Bytes_to_save
								  )
{
    CO_SDO_return_t SDO_ret;

    // setup client (this can be skipped, if remote device don't change)
    SDO_ret = CO_SDOclient_setup (
    								SDO_C, CO_CAN_ID_SDO_CLI + nodeId,
									CO_CAN_ID_SDO_SRV + nodeId,
									nodeId);

    if (SDO_ret != CO_SDO_RT_ok_communicationEnd) { return CO_SDO_AB_GENERAL; }

    // initiate upload
    SDO_ret = CO_SDOclientUploadInitiate ( SDO_C,
    										index,
											subIndex,
											1000,
											false);

    if (SDO_ret != CO_SDO_RT_ok_communicationEnd) { return CO_SDO_AB_GENERAL; }

    // upload data
    do 	{
        uint32_t timeDifference_us = 10000;
        CO_SDO_abortCode_t abortCode = CO_SDO_AB_NONE;

        SDO_ret = CO_SDOclientUpload(SDO_C, timeDifference_us, false, &abortCode, NULL, NULL, NULL);

        if (SDO_ret < 0) {  return abortCode;  }

        HAL_Delay(timeDifference_us/1000);// sleep_us(timeDifference_us);

    	} while (SDO_ret > 0);

    // copy data to the user buffer (for long data function must be called several times inside the loop)
    *readSize = CO_SDOclientUploadBufRead(SDO_C, buf, bufSize);

    return CO_SDO_AB_NONE;
}

CO_SDO_abortCode_t	write_SDO 	(
								CO_SDOclient_t* SDO_C,
								uint8_t nodeId, 	//Remote_NodeID
								uint16_t index,	//OD_Index_of_entire_at_Remote_NodeID
								uint8_t subIndex, // OD_SubIndex_of_entire_at_Remote_NodeID
								uint8_t* data,	//Data_Array_to_write_into_entire_at_Remote_NodeID
								size_t dataSize	//Number_of_Bytes_write_into_entire_at_Remote_NodeID
								)
{
    CO_SDO_return_t SDO_ret;
    bool_t bufferPartial = false;

    // setup client (this can be skipped, if remote device is the same)
    SDO_ret = CO_SDOclient_setup (	SDO_C,
    								CO_CAN_ID_SDO_CLI + nodeId,
									CO_CAN_ID_SDO_SRV + nodeId,
									nodeId);

    if (SDO_ret != CO_SDO_RT_ok_communicationEnd) { return -1; }

    // initiate download
    SDO_ret = CO_SDOclientDownloadInitiate(SDO_C, index, subIndex, dataSize, 1000, false);

    if (SDO_ret != CO_SDO_RT_ok_communicationEnd) /**< Success, end of communication. SDO client: uploaded data must be read. */
    	{ return -1; }

    // fill data
    size_t nWritten = CO_SDOclientDownloadBufWrite(SDO_C, data, dataSize);

    if (nWritten < dataSize) { bufferPartial = true; } // If SDO Fifo buffer is too small, data can be refilled in the loop.

    // download data
    do {
        uint32_t timeDifference_us = 10000;
        CO_SDO_abortCode_t abortCode = CO_SDO_AB_NONE;

        SDO_ret = CO_SDOclientDownload (	SDO_C,
        									timeDifference_us,
											false, bufferPartial,
											&abortCode,
											NULL,
											NULL
										);

        if (SDO_ret < 0) {  return abortCode;}

        HAL_Delay(timeDifference_us/1000); //sleep_us(timeDifference_us);

       } while (SDO_ret > 0);

    return CO_SDO_AB_NONE;
}

//////////////////////////////////////////////////////////
void CAN_interface_Test(void)
{
 Tx_Header.IDE    = CAN_ID_STD;
 Tx_Header.ExtId  = 0;
 Tx_Header.DLC    = 8;
 Tx_Header.StdId  = 0x7EC;
 Tx_Header.RTR    = CAN_RTR_DATA;
 HAL_CAN_Start(&hcan1);  HAL_Delay(1500);

 if(HAL_CAN_AddTxMessage( &hcan1,
   		               	  &Tx_Header,
						  Tx_Array, &TxMailbox )==HAL_OK
   )
	  {  /* Wait transmission complete */
	  //while(HAL_CAN_GetTxMailboxesFreeLevel(&hcan1) != 3) {}
		  for(uint8_t cnt=0;cnt<22;cnt++)
		  {
		   HAL_GPIO_TogglePin(LED2_GPIO_Port, LED2_Pin);//LED2_Pin//yellow
		   HAL_Delay(46);
		  }
	  }
}

///////////////////////////////////////////////////
void UART_interface_Test(void)
{
	// Test_Terminal__ASCII
	  Length_of_Message = sprintf( Message_to_Terminal,
			  	  	  	  	  	  	  "Rx_Array[0]=0x%x, Rx_Array[1]= 0x%x, Rx_Array[2]= 0x%x, Rx_Array[3]= 0x%x \n\r",
									   Rx_Array[0],Rx_Array[1],Rx_Array[2],Rx_Array[3]
								 );
	  TerminalInterface.gState = HAL_UART_STATE_READY;
//	  HAL_UART_Transmit_DMA( &TerminalInterface, (uint8_t*)Message_to_Terminal, Length_of_Message);
	  HAL_UART_Transmit( &TerminalInterface, (uint8_t*)Message_to_Terminal, Length_of_Message,50);

//    Test_Terminal__HEX
//
//	  HAL_Delay(500);
//	  Local_Count = sizeof String_L;
//	  String_L[Local_Count-1] = 0x0d;
//	  TerminalInterface.gState = HAL_DMA_STATE_READY;
//	  HAL_UART_Transmit_DMA( &TerminalInterface, (uint8_t*)(String_L), Local_Count);

}
//////////////////////////////////////////////

void GPIO_Blink_Test(GPIO_TypeDef* GPIOx, uint16_t GPIO_Pin, uint8_t Count_of_Blink, uint16_t Period_of_blink_ms)
{
	for(uint8_t cnt=0;cnt<Count_of_Blink;cnt++)
	{
	HAL_GPIO_TogglePin(GPIOx, GPIO_Pin );
	HAL_Delay(Period_of_blink_ms);
	}
	  //HAL_GPIO_WritePin(GPIOx, GPIO_Pin, GPIO_PIN_SET);
	  HAL_GPIO_WritePin(GPIOx, GPIO_Pin, GPIO_PIN_RESET);
}

//////////////////////////////////////////////////
void Board_Name_to_Terminal(void)
{
	const char Message_0[]={"   ******************************************\n\r"};
//	const char Message_1[]={"*  Upper Blackboard  STM32F4XX___Ali     *\n\r"};
//	const char Message_1[]={"*  Lower Blackboard  STM32F4XX___Ali     *\n\r"};
//  const char Message_1[]={"*  STM32F4DISCOVERY Green_board China    *\n\r"};
	const char Message_1[]={"*  STM32F4DISCOVERY Blue_board Original  *\n\r"};
//  const char Message_1[]={"*  STM32F4DISCOVERY Green_board Original *\n\r"};
	char Array_for_Messages[128]={};
	uint16_t Msg_Length;
//	uint32_t Chip_ID_96bit[4]={};
//	uint16_t  *pChip_ID_96bit =(uint16_t*)Chip_ID_96bit ;

//	Chip_ID_96bit[0] = HAL_GetUIDw0();
//	Chip_ID_96bit[1] = HAL_GetUIDw1();
//	Chip_ID_96bit[2] = HAL_GetUIDw2();

	Msg_Length = sizeof(Message_0);
	while(TerminalInterface.gState != HAL_UART_STATE_READY){;}
	HAL_UART_Transmit_DMA( &TerminalInterface, (uint8_t*)Message_0, Msg_Length);

	Msg_Length = sizeof(Message_1);
	while(TerminalInterface.gState != HAL_UART_STATE_READY){;}
	HAL_UART_Transmit_DMA( &TerminalInterface, (uint8_t*)Message_1, Msg_Length);

	while(TerminalInterface.gState != HAL_UART_STATE_READY){;}
	Msg_Length = sprintf( Array_for_Messages,
			  	  	  	  "*  SystemClock = %d MHz                 *\n\r",
						  (uint16_t)(HAL_RCC_GetSysClockFreq()/1000000)
						);
	HAL_UART_Transmit_DMA( &TerminalInterface, (uint8_t*)Array_for_Messages, Msg_Length);

	while(TerminalInterface.gState != HAL_UART_STATE_READY){;}
	Msg_Length = sprintf( Array_for_Messages,
			  	  	  	  "   *  Unical_ID %X%X%X%X%X%X        *\n\r",
						  (uint16_t)(HAL_GetUIDw2()>>16),(uint16_t)(HAL_GetUIDw2() & 0x0000FFFF),
						  (uint16_t)(HAL_GetUIDw1()>>16),(uint16_t)(HAL_GetUIDw1() & 0x0000FFFF),
						  (uint16_t)(HAL_GetUIDw0()>>16),(uint16_t)(HAL_GetUIDw0() & 0x0000FFFF)

						);
	HAL_UART_Transmit_DMA( &TerminalInterface, (uint8_t*)Array_for_Messages, Msg_Length);

	while(TerminalInterface.gState != HAL_UART_STATE_READY){;}
	Msg_Length = sprintf( Array_for_Messages,
			  	  	  	  "   *  Device identifier %X%X                *\n\r",
						  (uint16_t)(HAL_GetDEVID()>>16), (uint16_t)(HAL_GetDEVID() & 0x0000FFFF)
						);
	HAL_UART_Transmit_DMA( &TerminalInterface, (uint8_t*)Array_for_Messages, Msg_Length);

	while(TerminalInterface.gState != HAL_UART_STATE_READY){;}
	Msg_Length = sprintf( Array_for_Messages,
			  	  	  	  "   *  Device revision identifier %X%X      *\n\r",
						  (uint16_t)( HAL_GetREVID()>>16 ),
						  (uint16_t)( HAL_GetREVID() & 0x0000FFFF )
						);
	HAL_UART_Transmit_DMA( &TerminalInterface, (uint8_t*)Array_for_Messages, Msg_Length);

	Msg_Length = sizeof(Message_0);
	while(TerminalInterface.gState != HAL_UART_STATE_READY){;}
	HAL_UART_Transmit_DMA( &TerminalInterface, (uint8_t*)Message_0, Msg_Length);

	while(TerminalInterface.gState != HAL_UART_STATE_READY){;}
	Array_for_Messages[0]=0x0a;		Array_for_Messages[1]=0x0d;
	Array_for_Messages[2]=0x0a;		Array_for_Messages[3]=0x0d;
	Array_for_Messages[4]=0x0a;		Array_for_Messages[5]=0x0d;
	HAL_UART_Transmit_DMA( &TerminalInterface, (uint8_t*)(Array_for_Messages), 6);
	while(TerminalInterface.gState != HAL_UART_STATE_READY){;}
}

//////////////////////////////////////////////////
void CO_Init_Return_State(uint16_t Returned_Code)
{
	uint16_t Lngth_of_Message;
	char Msg_2_Terminal[400];
//extern uint32_t *heapMemoryUsed;
	   Lngth_of_Message = sprintf( Msg_2_Terminal,
		  	  	  "   *  CANopenNodeSTM32 canOpenNodeSTM32;        *\n\r"
		  	  	  "   *  .CANHandle = &hcan1;                      *\n\r"
		  	  	  "   *  .HWInitFunction = MX_CAN1_Init            *\n\r"
		  	  	  "   *  .timerHandle = &htim4                     *\n\r"
		  	  	  "   *  .baudrate = 500kbps                       *\n\r"
		  	  	  "   *  .desiredNodeID = CO_Disco407_Blue;//0x3b; *\n\r"
		  	  	  "   *  canopen_app_init(&canOpenNodeSTM32);      * \n\r\n\r"
			   );
		HAL_UART_Transmit_DMA( &TerminalInterface, (uint8_t*)Msg_2_Terminal, Lngth_of_Message);
		while(TerminalInterface.gState != HAL_UART_STATE_READY){;}

	   if (Returned_Code==0){
	     uint8_t Msg_0[128];// ="  canopen_app_init OK !\n\r\n\r";
	   //Lngth_of_Message = sizeof(Msg_0);
	   Lngth_of_Message = sprintf( (char*)Msg_0," canopen_app_init OK !\n\r"
			   "  Allocated.....bytes for CANopen objects\n\r");
	   //

	   	  while(TerminalInterface.gState != HAL_UART_STATE_READY){;}
	   	  HAL_UART_Transmit_DMA( &TerminalInterface, Msg_0, Lngth_of_Message);
	   	 }else if(Returned_Code==1) {
	   		const uint8_t Msg_1[]="Error: Can't allocate memory!\n\r\n\r";
	   		Lngth_of_Message = sizeof(Msg_1);
	   		 while(TerminalInterface.gState != HAL_UART_STATE_READY){;}
	   		  HAL_UART_Transmit_DMA( &TerminalInterface, Msg_1, Lngth_of_Message);
	   		 }else if(Returned_Code==2) {
	   			const uint8_t Msg_2[]="Error: Storage %d ! \n\r\n\r";
	   			Lngth_of_Message = sizeof(Msg_2);
	   			 while(TerminalInterface.gState != HAL_UART_STATE_READY){;}
	   			  HAL_UART_Transmit_DMA( &TerminalInterface, Msg_2, Lngth_of_Message);
	   			 }else{;}

		while(TerminalInterface.gState != HAL_UART_STATE_READY){;}
}

///////////////////////////////////////////////////
void SDO_abortCode_ASCII_to_Terminal(void)
{
char Message_2_Terminal_0[128];
uint16_t Message_Length;
while(TerminalInterface.gState != HAL_UART_STATE_READY){;}
Message_Length = SDO_abortCode_to_String(Code_return_SDO,  Message_2_Terminal_0);
HAL_UART_Transmit_DMA( &TerminalInterface, (uint8_t*)Message_2_Terminal_0, Message_Length);
while(TerminalInterface.gState != HAL_UART_STATE_READY){;}
}

//////////////////////////////////////////

/* USER CODE END 4 */

void Error_Handler(void)
{
  __disable_irq();
  while (1)
  {
  }
}
